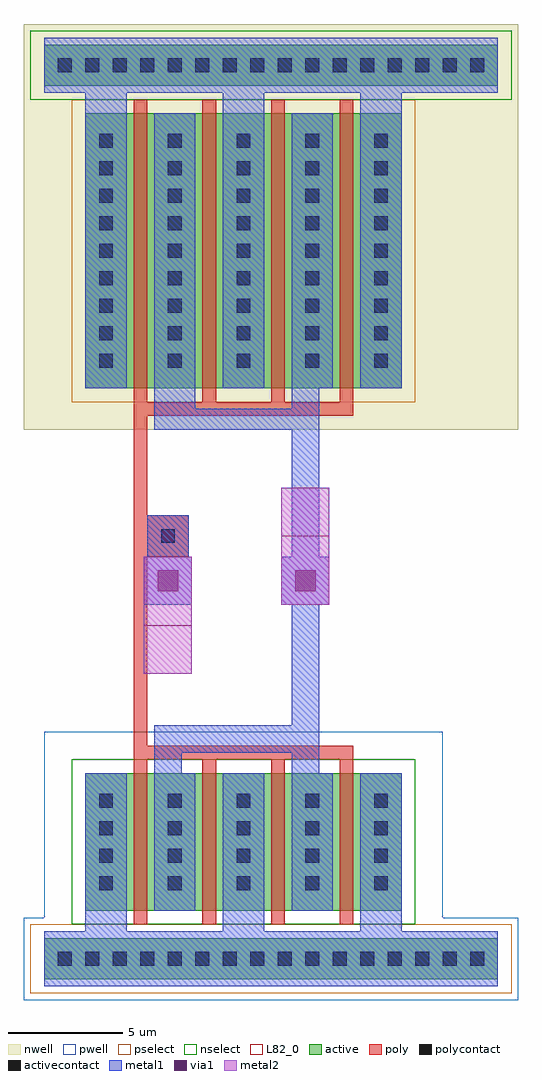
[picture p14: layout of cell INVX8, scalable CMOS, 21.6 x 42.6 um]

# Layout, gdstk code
import gdstk
lib = gdstk.Library(unit=1e-6, precision=1e-09)
def R(c, l, rs):  # rectangles x0, y0, x1, y1
    for r in rs: c.add(gdstk.rectangle(r[:2], r[2:], *l))
def A(c, l, x, y, w, h, nx, ny, dx, dy):  # array of equal rectangles
    R(c, l, [(x+i*dx, y+j*dy, x+i*dx+w, y+j*dy+h) for i in range(nx) for j in range(ny)])
pwell = (41, 0)
nwell = (42, 0)
active = (43, 0)
pselect = (44, 0)
nselect = (45, 0)
poly = (46, 0)
polycontact = (47, 0)
activecontact = (48, 0)
metal1 = (49, 0)
via1 = (50, 0)
metal2 = (51, 0)
L82_0 = (82, 0)

invx8 = lib.new_cell('INVX8')
R(invx8, pwell, [(-1.8,-1.8,19.8,1.8), (-0.9,1.8,16.5,9.9)])
R(invx8, nwell, [(-1.8,23.1,19.8,40.8)])
R(invx8, active, [(-0.9,-0.9,18.9,0.9), (0.9,2.1,14.7,8.1), (0.9,24.9,14.7,36.9), (-0.9,38.1,18.9,39.9)])
R(invx8, pselect, [(-1.5,-1.5,19.5,1.5), (0.3,24.3,15.3,37.5)])
R(invx8, nselect, [(0.3,1.5,15.3,8.7), (-1.5,37.5,19.5,40.5)])
A(invx8, poly, 3, 1.5, 0.6, 7.2, 4, 1, 3, 0)
A(invx8, poly, 3, 24.3, 0.6, 13.2, 4, 1, 3, 0)
R(invx8, poly, [(3,8.7,12.6,9.3), (3,9.3,3.6,17.55), (3,17.55,5.4,19.35), (3,19.35,3.6,23.7), (3,23.7,12.6,24.3)])
R(invx8, polycontact, [(4.2,18.15,4.8,18.75)])
A(invx8, activecontact, -0.3, -0.3, 0.6, 0.6, 16, 2, 1.2, 39)
A(invx8, activecontact, 1.5, 3, 0.6, 0.6, 5, 4, 3, 1.2)
A(invx8, activecontact, 1.5, 25.8, 0.6, 0.6, 5, 9, 3, 1.2)
A(invx8, metal1, 0.9, 1.2, 1.8, 6.9, 3, 1, 6, 0)
A(invx8, metal1, 0.9, 24.9, 1.8, 12.9, 3, 1, 6, 0)
R(invx8, metal1, [(-0.9,-1.2,18.9,1.2), (3.9,2.1,5.7,8.1), (9.9,2.1,11.7,8.1), (3.9,8.1,5.1,9), (9.9,8.1,11.1,9), (3.9,9,11.1,10.2), (9.9,10.2,11.1,15.45), (3.45,15.45,5.55,17.55), (9.45,15.45,11.55,17.55), (3.6,17.55,5.4,19.35), (9.9,17.55,11.1,23.1), (3.9,23.1,11.1,24), (3.9,24,5.7,36.9), (9.9,24,11.1,24.9), (9.9,24.9,11.7,36.9), (-0.9,37.8,18.9,40.2)])
R(invx8, via1, [(4.05,16.05,4.95,16.95), (10.05,16.05,10.95,16.95)])
R(invx8, metal2, [(3.45,12.45,5.55,17.55), (9.45,15.45,11.55,20.55)])
R(invx8, L82_0, [(3.45,12.45,5.55,14.55), (9.45,18.45,11.55,20.55)])

lib.write_gds('INVX8.gds')
